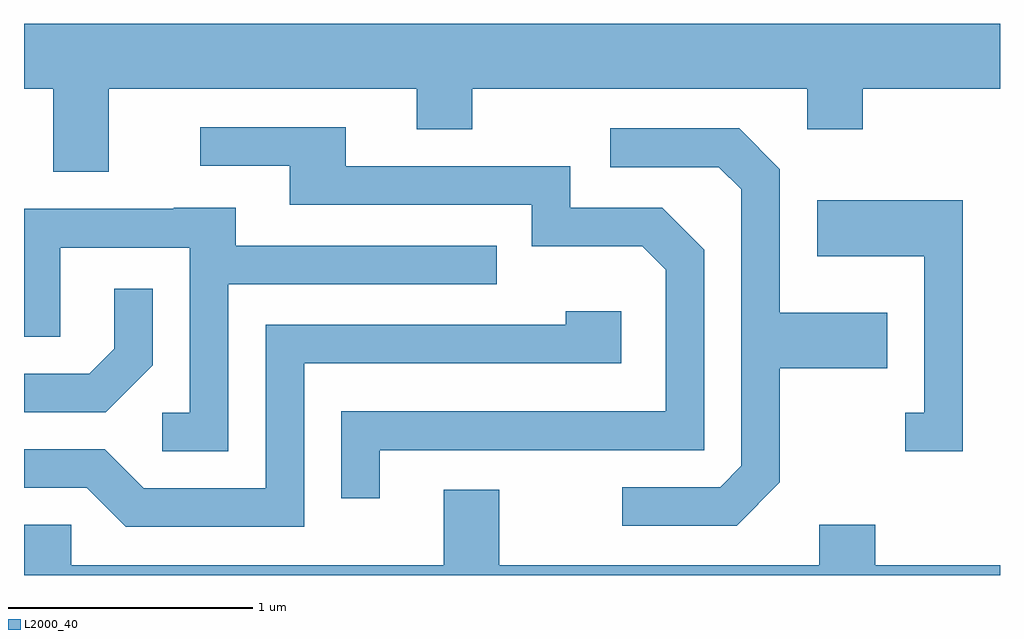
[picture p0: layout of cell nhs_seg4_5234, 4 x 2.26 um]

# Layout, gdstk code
import gdstk
lib = gdstk.Library(unit=1e-6, precision=1e-09)
def P(c, l, *ps):  # polygons
    for p in ps: c.add(gdstk.Polygon(p, *l))
L2000_40 = (2000, 40)

nhs_seg4_5234 = lib.new_cell('nhs_seg4_5234')
P(nhs_seg4_5234, L2000_40, [(337.959,1387.976),(339.221,1387.976),(339.221,1387.811),(339.449,1387.811),(339.449,1387.976),(340.821,1387.976),(340.821,1387.811),(341.049,1387.811),(341.049,1387.976),(341.611,1387.976),(341.611,1388.244),(337.611,1388.244),(337.611,1387.976),(337.731,1387.976),(337.731,1387.636),(337.959,1387.636)],
  [(339.069,1386.496),(340.399,1386.496),(340.399,1387.317),(340.227,1387.489),(339.849,1387.489),(339.849,1387.659),(338.929,1387.659),(338.929,1387.819),(338.333,1387.819),(338.333,1387.661),(338.701,1387.661),(338.701,1387.501),(339.691,1387.501),(339.691,1387.331),(340.144,1387.331),(340.241,1387.234),(340.241,1386.654),(338.911,1386.654),(338.911,1386.298),(339.069,1386.298)],
  [(340.709,1386.364),(340.709,1386.831),(341.149,1386.831),(341.149,1387.059),(340.709,1387.059),(340.709,1387.647),(340.542,1387.814),(340.013,1387.814),(340.013,1387.656),(340.459,1387.656),(340.551,1387.564),(340.551,1386.432),(340.464,1386.344),(340.063,1386.344),(340.063,1386.186),(340.532,1386.186)],
  [(341.459,1387.519),(340.861,1387.519),(340.861,1387.291),(341.301,1387.291),(341.301,1386.649),(341.223,1386.649),(341.223,1386.491),(341.459,1386.491)],
  [(338.449,1387.176),(339.548,1387.176),(339.548,1387.334),(338.479,1387.334),(338.479,1387.489),(338.225,1387.489),(338.225,1387.484),(337.611,1387.484),(337.611,1386.961),(337.759,1386.961),(337.759,1387.326),(338.291,1387.326),(338.291,1386.649),(338.178,1386.649),(338.178,1386.491),(338.449,1386.491)],
  [(338.139,1386.844),(338.139,1387.158),(337.981,1387.158),(337.981,1386.912),(337.879,1386.809),(337.611,1386.809),(337.611,1386.651),(337.947,1386.651)],
  [(338.759,1386.851),(340.059,1386.851),(340.059,1387.064),(339.831,1387.064),(339.831,1387.009),(338.601,1387.009),(338.601,1386.339),(338.102,1386.339),(337.942,1386.499),(337.611,1386.499),(337.611,1386.341),(337.869,1386.341),(338.029,1386.181),(338.759,1386.181)],
  [(341.611,1386.024),(341.099,1386.024),(341.099,1386.189),(340.871,1386.189),(340.871,1386.024),(339.559,1386.024),(339.559,1386.334),(339.331,1386.334),(339.331,1386.024),(337.804,1386.024),(337.804,1386.189),(337.611,1386.189),(337.611,1385.982),(341.611,1385.982)])

lib.write_gds('nhs_seg4_5234.gds')
